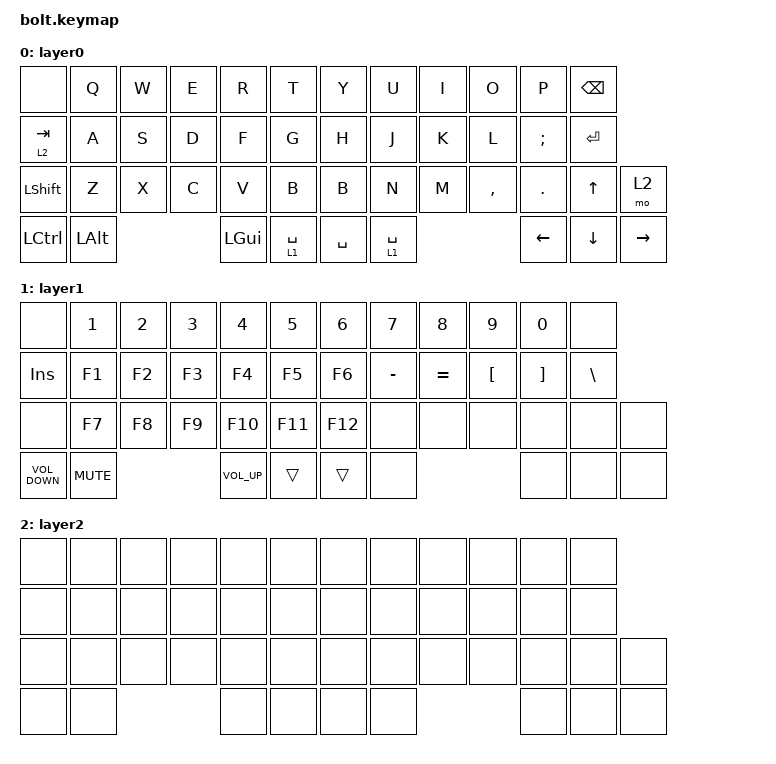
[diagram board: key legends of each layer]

  /*
  * Copyright (c) 2020 The ZMK Contributors
  *
  * SPDX-License-Identifier: MIT
  */

  #include <behaviors.dtsi>
  #include <dt-bindings/zmk/keys.h>
  #include <dt-bindings/zmk/bt.h>
  #include <dt-bindings/zmk/ext_power.h>

  / {
    keymap {
      compatible = "zmk,keymap";
  layer0 {
          bindings = <
          &none                 &kp Q              &kp W           &kp E           &kp R         &kp T       &kp Y       &kp U       &kp I       &kp O     &kp P         &kp BACKSPACE 
          &lt 2 TAB             &kp A              &kp S           &kp D           &kp F         &kp G       &kp H       &kp J       &kp K       &kp L     &kp SEMICOLON &kp ENTER 
          &kp LEFT_SHIFT        &kp Z              &kp X           &kp C           &kp V         &kp B       &kp B       &kp N       &kp M       &kp COMMA &kp DOT       &kp UP   &mo 2          
          &kp LEFT_CONTROL      &kp LEFT_ALT                                       &kp LEFT_GUI  &lt 1 SPACE &kp SPACE   &lt 1 SPACE                       &kp LEFT      &kp DOWN &kp RIGHT
          >;
        };layer1 {
          bindings = <
          &none             &kp N1      &kp N2          &kp N3 &kp N4 &kp N5    &kp N6  &kp N7      &kp N8 &kp N9 &kp N0 &none 
          &kp INSERT        &kp F1      &kp F2          &kp F3 &kp F4 &kp F5    &kp F6  &kp MINUS   &kp EQUAL &kp LEFT_BRACKET &kp RIGHT_BRACKET &kp BACKSLASH 
          &none             &kp F7      &kp F8          &kp F9 &kp F10 &kp F11  &kp F12 &none       &none &none &none &none &none 
          &kp C_VOLUME_DOWN &kp C_MUTE                  &kp C_VOLUME_UP  &trans &trans &none                    &none &none &none
          >;
        };layer2 {
          bindings = <
          &none &none &none &none &none &none &none &none &none &none &none &none
          &none &none &none &none &none &none &none &none &none &none &none &none 
          &none &none &none &none &none &none &none &none &none &none &none &none &none 
          &none &none             &none &none &none &none             &none &none &none
          >;
        };
    };
  };
  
